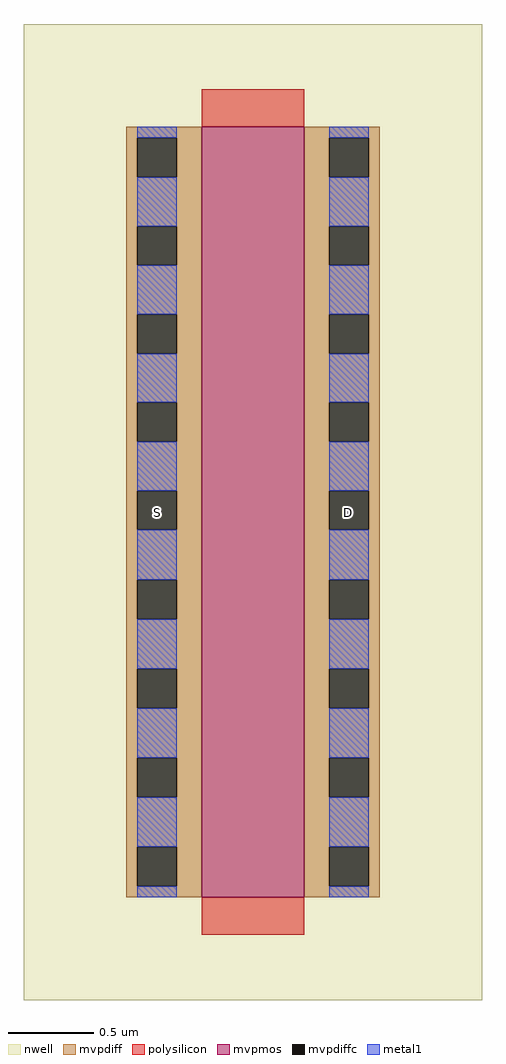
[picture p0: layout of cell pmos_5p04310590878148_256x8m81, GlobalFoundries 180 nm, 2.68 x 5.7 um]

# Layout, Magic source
magic
tech gf180mcuA
magscale 1 10
<< nwell >>
rect -208 -120 328 1020
<< mvpmos >>
rect 0 0 120 900
<< mvpdiff >>
rect -88 887 0 900
rect -88 841 -75 887
rect -29 841 0 887
rect -88 784 0 841
rect -88 738 -75 784
rect -29 738 0 784
rect -88 681 0 738
rect -88 635 -75 681
rect -29 635 0 681
rect -88 578 0 635
rect -88 532 -75 578
rect -29 532 0 578
rect -88 475 0 532
rect -88 429 -75 475
rect -29 429 0 475
rect -88 371 0 429
rect -88 325 -75 371
rect -29 325 0 371
rect -88 267 0 325
rect -88 221 -75 267
rect -29 221 0 267
rect -88 163 0 221
rect -88 117 -75 163
rect -29 117 0 163
rect -88 59 0 117
rect -88 13 -75 59
rect -29 13 0 59
rect -88 0 0 13
rect 120 887 208 900
rect 120 841 149 887
rect 195 841 208 887
rect 120 784 208 841
rect 120 738 149 784
rect 195 738 208 784
rect 120 681 208 738
rect 120 635 149 681
rect 195 635 208 681
rect 120 578 208 635
rect 120 532 149 578
rect 195 532 208 578
rect 120 475 208 532
rect 120 429 149 475
rect 195 429 208 475
rect 120 371 208 429
rect 120 325 149 371
rect 195 325 208 371
rect 120 267 208 325
rect 120 221 149 267
rect 195 221 208 267
rect 120 163 208 221
rect 120 117 149 163
rect 195 117 208 163
rect 120 59 208 117
rect 120 13 149 59
rect 195 13 208 59
rect 120 0 208 13
<< mvpdiffc >>
rect -75 841 -29 887
rect -75 738 -29 784
rect -75 635 -29 681
rect -75 532 -29 578
rect -75 429 -29 475
rect -75 325 -29 371
rect -75 221 -29 267
rect -75 117 -29 163
rect -75 13 -29 59
rect 149 841 195 887
rect 149 738 195 784
rect 149 635 195 681
rect 149 532 195 578
rect 149 429 195 475
rect 149 325 195 371
rect 149 221 195 267
rect 149 117 195 163
rect 149 13 195 59
<< polysilicon >>
rect 0 900 120 944
rect 0 -44 120 0
<< metal1 >>
rect -75 887 -29 900
rect -75 784 -29 841
rect -75 681 -29 738
rect -75 578 -29 635
rect -75 475 -29 532
rect -75 371 -29 429
rect -75 267 -29 325
rect -75 163 -29 221
rect -75 59 -29 117
rect -75 0 -29 13
rect 149 887 195 900
rect 149 784 195 841
rect 149 681 195 738
rect 149 578 195 635
rect 149 475 195 532
rect 149 371 195 429
rect 149 267 195 325
rect 149 163 195 221
rect 149 59 195 117
rect 149 0 195 13
<< labels >>
flabel metal1 s -52 450 -52 450 0 FreeSans 400 0 0 0 S
flabel metal1 s 172 450 172 450 0 FreeSans 400 0 0 0 D
<< properties >>
string GDS_END 372838
string GDS_FILE $PDKPATH/libs.ref/gf180mcu_fd_ip_sram/gds/gf180mcu_fd_ip_sram__sram256x8m8wm1.gds
string GDS_START 370726
<< end >>
